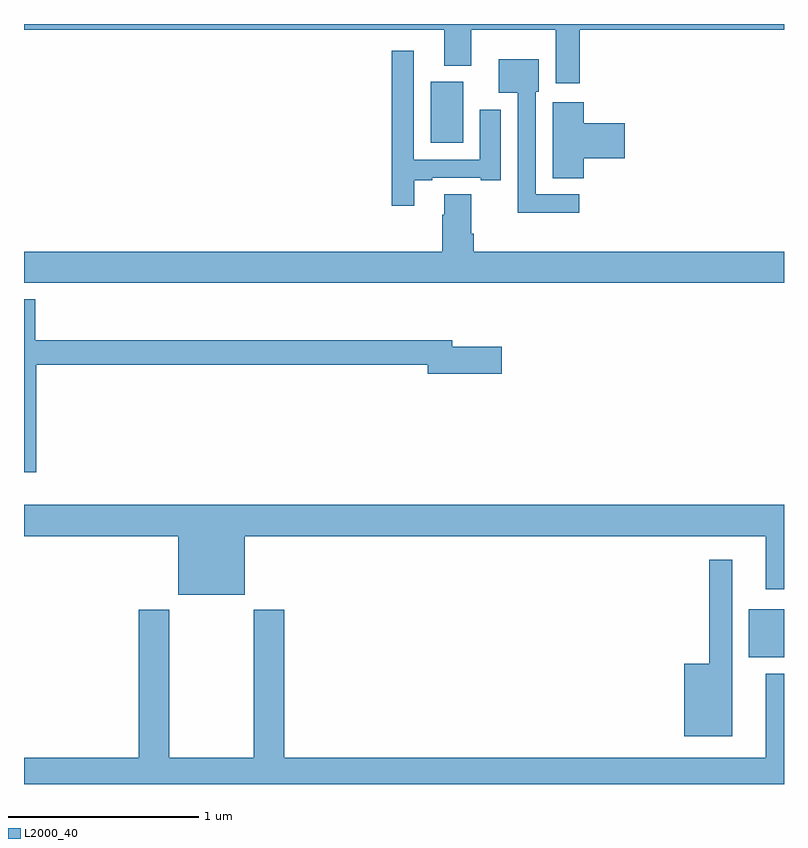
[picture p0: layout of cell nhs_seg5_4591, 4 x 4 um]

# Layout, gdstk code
import gdstk
lib = gdstk.Library(unit=1e-6, precision=1e-09)
def R(c, l, rs):  # rectangles x0, y0, x1, y1
    for r in rs: c.add(gdstk.rectangle(r[:2], r[2:], *l))
def P(c, l, *ps):  # polygons
    for p in ps: c.add(gdstk.Polygon(p, *l))
L2000_40 = (2000, 40)

nhs_seg5_4591 = lib.new_cell('nhs_seg5_4591')
R(nhs_seg5_4591, L2000_40, [(384.815,845.465,385,845.719), (383.141,848.174,383.311,848.494)])
P(nhs_seg5_4591, L2000_40, [(383.924,848.768),(385,848.768),(385,848.799),(381,848.799),(381,848.768),(383.213,848.768),(383.213,848.579),(383.353,848.579),(383.353,848.768),(383.798,848.768),(383.798,848.487),(383.924,848.487)],
  [(383.053,847.977),(383.149,847.977),(383.149,847.989),(383.405,847.989),(383.405,847.977),(383.509,847.977),(383.509,848.347),(383.399,848.347),(383.399,848.085),(383.052,848.085),(383.052,848.659),(382.936,848.659),(382.936,847.842),(383.053,847.842)],
  [(383.923,847.902),(383.694,847.902),(383.694,848.442),(383.71,848.442),(383.71,848.614),(383.498,848.614),(383.498,848.438),(383.598,848.438),(383.598,847.805),(383.923,847.805)],
  [(383.945,848.093),(384.163,848.093),(384.163,848.276),(383.945,848.276),(383.945,848.386),(383.783,848.386),(383.783,847.987),(383.945,847.987)],
  [(385,847.6),(383.366,847.6),(383.366,847.696),(383.353,847.696),(383.353,847.904),(383.213,847.904),(383.213,847.796),(383.201,847.796),(383.201,847.6),(381,847.6),(381,847.436),(385,847.436)],
  [(381.065,847.006),(383.126,847.006),(383.126,846.959),(383.515,846.959),(383.515,847.101),(383.254,847.101),(383.254,847.135),(381.059,847.135),(381.059,847.351),(381,847.351),(381,846.44),(381.065,846.44)],
  [(382.162,846.104),(384.905,846.104),(384.905,845.823),(385,845.823),(385,846.268),(381,846.268),(381,846.104),(381.812,846.104),(381.812,845.795),(382.162,845.795)],
  [(384.727,845.98),(384.606,845.98),(384.606,845.431),(384.476,845.431),(384.476,845.051),(384.727,845.051)],
  [(385,845.38),(384.905,845.38),(384.905,844.936),(382.37,844.936),(382.37,845.716),(382.21,845.716),(382.21,844.936),(381.765,844.936),(381.765,845.716),(381.605,845.716),(381.605,844.936),(381,844.936),(381,844.799),(385,844.799)])

lib.write_gds('nhs_seg5_4591.gds')
